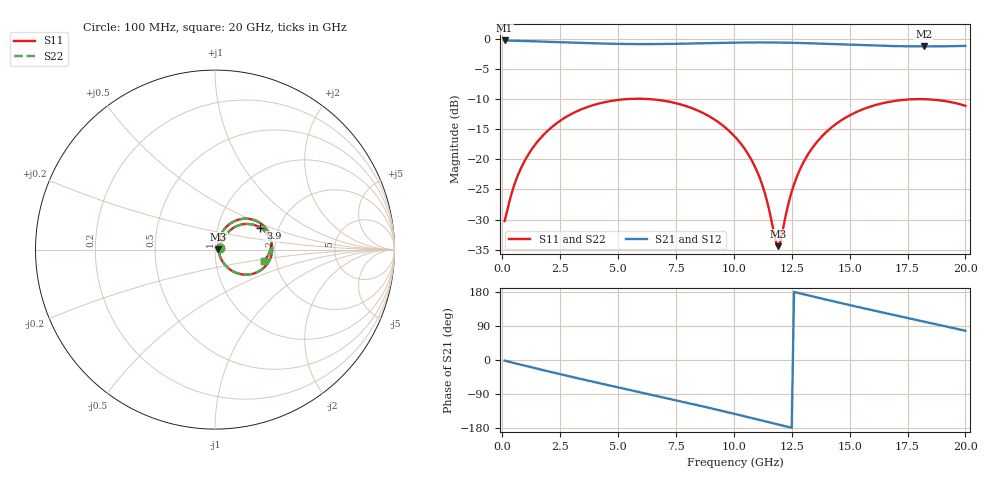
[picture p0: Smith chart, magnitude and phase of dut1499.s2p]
! Touchstone file exported from HFSS 2026.1.0
!  File:  C:/ffzhzh/LocalFiles/Ansys_Project_Files/temp_train_TSV_RDL_1499_1783365481_46376.aedt
!  Generated:  03:25:28 AM Jul  7, 2026
!  Design:  TSV_RDL
!  Project:  temp_train_TSV_RDL_1499_1783365481_46376
! Variables:
!  h_bsmrdl = 5.38um
!  h_ox = 20um
!  h_rdl = 5um
!  h_sub = 79.36um
!  h_tmrdl = 3.07um
!  h_tsv = 79.36um
!  h_via = 3um
!  l_bsmrdl = 315.25um
!  l_sub = 4600.76um
!  l_tmrdl = 793.39um
!  m_sub = 200um
!  pitch = 27.73um
!  r_tsv = 9.53um
!  s_tmrdl = 10um
!  w_bsmrdl = 10.49um
!  w_sub = 500um
!  w_tmrdl = 16.66um
!  x_tsv_center1 = 801.72um
!  x_tsv_center2 = 1127.46um
!  x_tsv_center3 = 1937.51um
!  x_tsv_center4 = 2263.25um
!  x_tsv_center5 = 3073.3um
!  x_tsv_center6 = 3399.04um
# GHz S MA R 50.000000
! Terminal data exported
! Port[1] = TM_RDL1_1_T1
! Port[2] = TM_RDL5_1_T1
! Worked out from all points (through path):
!   200 points, 100 MHz to 20 GHz, reference 50 ohm
!   highest |S21| = -0.25 dB at 100 MHz (marker M1); lowest = -1.2 dB at 18.2 GHz (marker M2)
!   group delay of S21, straight-line fit = 39.3 ps
!   lowest |S11| = -34.4 dB at 11.9 GHz (marker M3), VSWR 1.04, Z = 51.9 + j0.112 ohm
!   |S11| at or under -10 dB: start of sweep to 5.364 GHz; 6.36 GHz to 17.9 GHz (11.54 GHz wide, 95.1 % of centre); 18.12 GHz to end of sweep
!   |S22| runs from -34.3 to -9.9 dB; largest |S21 - S12| = 1.7e-14
!   S11 on the Smith chart (normalised r, x): 100 MHz: 1.06, +0.02; 3.9 GHz: 1.61, +0.42; 20 GHz: 1.72, -0.24
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0.1  0.03073 19.3  0.9712 -1.6  0.9712 -1.6  0.03073 19.3
! Gamma 0 0 0 0
! Port Impedance 50 0 50 0
0.6  0.06791 50.8  0.9645 -9.4  0.9645 -9.4  0.06791 50.8
1.3  0.1232 52.9  0.9563 -19.8  0.9563 -19.8  0.1232 52.9
2.3  0.1962 44.6  0.9427 -34.5  0.9427 -34.5  0.1962 44.6
3.5  0.2641 30.5  0.9254 -51.6  0.9254 -51.6  0.2641 30.6
3.9  0.281 25.6  0.9203 -57.1  0.9203 -57.1  0.281 25.7
5.3  0.3156 8.1  0.908 -76.2  0.908 -76.2  0.3155 8.2
6.8  0.3101 -10.7  0.9072 -96.6  0.9072 -96.6  0.31 -10.7
8.7  0.2409 -34.8  0.9207 -122.9  0.9207 -122.9  0.2408 -34.7
10.1  0.1502 -51.5  0.9318 -143.2  0.9318 -143.2  0.1501 -51.3
11.1  0.07156 -57.6  0.9351 -158.0  0.9351 -158.0  0.07154 -57.3
11.4  0.04757 -53.8  0.9349 -162.5  0.9349 -162.5  0.04761 -53.3
11.8  0.02115 -19.3  0.9337 -168.5  0.9337 -168.5  0.02144 -18.5
11.9  0.01899 3.2  0.9332 -170.0  0.9332 -170.0  0.01937 3.7
12  0.02054 26.5  0.9326 -171.5  0.9326 -171.5  0.02094 26.5
12.3  0.03852 60.3  0.9306 -175.9  0.9306 -175.9  0.03882 59.9
12.6  0.06188 67.6  0.9281 179.6  0.9281 179.6  0.06211 67.4
13.4  0.1251 65.5  0.9189 167.8  0.9189 167.8  0.1253 65.4
14.8  0.2204 50.2  0.8981 147.7  0.8981 147.7  0.2205 50.1
16.7  0.2999 26.9  0.8739 121.6  0.8739 121.6  0.3001 27.0
18.2  0.316 8.6  0.8671 101.6  0.8671 101.6  0.3162 8.7
20  0.2785 -13.1  0.8751 77.2  0.8751 77.2  0.2786 -13.0
